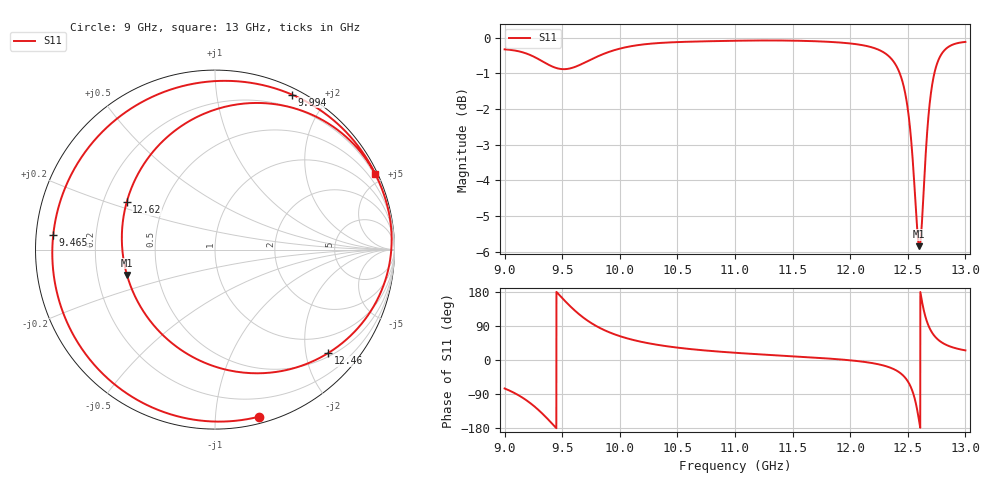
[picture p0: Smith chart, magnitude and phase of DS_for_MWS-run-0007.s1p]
! TOUCHSTONE file generated by CST DESIGN STUDIO
! Date and time: Tue Feb  4 13:14:55 2025
! Project name: C:\Work\MatlabApps\UnitCellOptimizationMatlab\CST\unitcell.cst
! Tree item: Tasks\Sweep1\SPara1\S-Parameters
! Header version: 2024
! Port assignment regex: !\s*Touchstone port\s*([0-9]+)\s*=\s*(CST MWS port|CST DES external port|CST DES block port)\s*(.+)\s* \(\"(.*)\"\)(\s*mode\s*([0-9]+))?.*
! Touchstone port assignment:
! Touchstone port 1 = CST DES external port 1 ("")
# GHz S MA R 50
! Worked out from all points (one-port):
!   4001 points, 9 GHz to 13 GHz, reference 50 ohm
!   lowest |S11| = -5.8 dB at 12.6 GHz (marker M1), VSWR 3.09, Z = 16.5 - j6.29 ohm
!   |S11| at or under -10 dB: nowhere
!   S11 on the Smith chart (normalised r, x): 9 GHz: 0.05, -1.30; 9.465 GHz: 0.05, +0.05; 9.994 GHz: 0.07, +1.61; 12.46 GHz: 0.57, -2.45; 12.62 GHz: 0.30, +0.23; 13 GHz: 0.15, +4.43
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9  0.9627 -75.2
9.143  0.9549 -97.0
9.248  0.9411 -119.8
9.37  0.9182 -154.4
9.465  0.905 174.8
9.5  0.9032 163.4
9.602  0.9086 132.5
9.703  0.9237 107.5
9.847  0.9469 81.5
9.994  0.9643 63.6
10  0.9648 63.0
10.215  0.9785 46.2
10.5  0.9854 32.7
11  0.9897 19.1
11.5  0.99 9.8
12  0.9811 -0.8
12.323  0.9452 -17.5
12.465  0.8537 -42.6
12.5  0.7942 -56.2
12.555  0.6295 -96.2
12.577  0.5511 -124.6
12.6  0.5105 -164.0
12.625  0.5589 151.6
12.662  0.7136 105.2
12.704  0.8432 75.6
12.752  0.9173 56.7
12.81  0.9565 43.6
13  0.986 25.4
